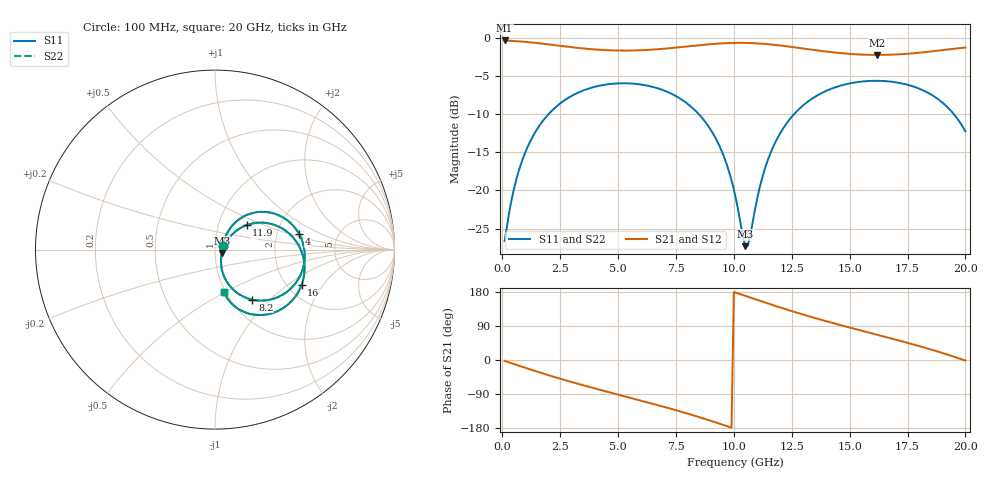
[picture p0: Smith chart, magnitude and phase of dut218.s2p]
! Touchstone file exported from HFSS 2026.1.0
!  File:  C:/ffzhzh/LocalFiles/Ansys_Project_Files/temp_train_TSV_RDL_218_1783062772_17544.aedt
!  Generated:  03:30:32 PM Jul  3, 2026
!  Design:  TSV_RDL
!  Project:  temp_train_TSV_RDL_218_1783062772_17544
! Variables:
!  h_bsmrdl = 4.47um
!  h_ox = 20um
!  h_rdl = 5um
!  h_sub = 88.29um
!  h_tmrdl = 3.52um
!  h_tsv = 88.29um
!  h_via = 3um
!  l_bsmrdl = 843.39um
!  l_sub = 5945.29um
!  l_tmrdl = 725.34um
!  m_sub = 200um
!  pitch = 37.04um
!  r_tsv = 2.2um
!  s_tmrdl = 10um
!  w_bsmrdl = 10.26um
!  w_sub = 500um
!  w_tmrdl = 27.66um
!  x_tsv_center1 = 739.17um
!  x_tsv_center2 = 1592.82um
!  x_tsv_center3 = 2345.82um
!  x_tsv_center4 = 3199.47um
!  x_tsv_center5 = 3952.47um
!  x_tsv_center6 = 4806.12um
# GHz S MA R 50.000000
! Terminal data exported
! Port[1] = TM_RDL1_1_T1
! Port[2] = TM_RDL5_1_T1
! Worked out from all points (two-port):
!   200 points, 100 MHz to 20 GHz, reference 50 ohm
!   highest |S21| = -0.38 dB at 100 MHz (marker M1); lowest = -2.3 dB at 16.2 GHz (marker M2)
!   |S21| within 3 dB of the highest: start of sweep to end of sweep
!   lowest |S11| = -27.3 dB at 10.5 GHz (marker M3), VSWR 1.09, Z = 54 - j1.96 ohm
!   |S11| at or under -10 dB: start of sweep to 2.003 GHz; 8.48 GHz to 12.61 GHz (4.129 GHz wide, 39.2 % of centre); 19.49 GHz to end of sweep
!   |S22| runs from -27.4 to -5.7 dB; largest |S21 - S12| = 1.6e-14
!   S11 on the Smith chart (normalised r, x): 100 MHz: 1.09, +0.04; 4 GHz: 2.66, +0.60; 8.2 GHz: 1.25, -0.79; 11.9 GHz: 1.36, +0.39; 16 GHz: 2.38, -1.28; 20 GHz: 0.98, -0.50
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0.1  0.04676 22.7  0.9574 -2.2  0.9574 -2.2  0.04676 22.7
! Gamma 0 0 0 0
! Port Impedance 50 0 50 0
0.6  0.1171 53.7  0.9472 -12.6  0.9472 -12.6  0.1171 53.7
1.3  0.223 50.9  0.9278 -26.7  0.9278 -26.7  0.223 50.9
2.2  0.3391 38.3  0.8947 -43.9  0.8947 -43.9  0.3391 38.3
3.5  0.4509 18.2  0.8487 -66.8  0.8487 -66.8  0.4509 18.2
4  0.4765 10.6  0.836 -75.1  0.836 -75.1  0.4765 10.6
5.4  0.5018 -10.4  0.8221 -97.6  0.8221 -97.6  0.5018 -10.4
6.8  0.461 -31.5  0.8407 -120.4  0.8407 -120.4  0.461 -31.5
8.2  0.3481 -53.3  0.8816 -145.1  0.8816 -145.1  0.348 -53.3
9.3  0.2069 -68.8  0.9126 -166.3  0.9126 -166.3  0.2069 -68.8
10.1  0.08645 -66.8  0.9231 177.4  0.9231 177.4  0.08626 -67.0
10.5  0.04316 -24.8  0.9227 169.1  0.9227 169.1  0.04277 -24.9
10.7  0.04964 13.3  0.9209 165.0  0.9209 165.0  0.04929 13.6
11.3  0.1324 41.5  0.9098 152.7  0.9098 152.7  0.1323 41.8
11.9  0.2222 37.8  0.8912 140.6  0.8912 140.6  0.2221 37.9
13.4  0.4003 16.1  0.8315 112.6  0.8315 112.6  0.4003 16.2
14.7  0.4889 -3.4  0.7889 90.5  0.7889 90.5  0.4888 -3.3
16  0.5211 -22.2  0.7703 69.6  0.7703 69.6  0.521 -22.1
16.2  0.5213 -25.1  0.7699 66.5  0.7699 66.5  0.5213 -25.0
16.7  0.5164 -32.2  0.7719 58.4  0.7719 58.4  0.5163 -32.1
18.4  0.434 -57.1  0.8075 29.7  0.8075 29.7  0.434 -57.0
20  0.2432 -78.1  0.8603 -1.4  0.8603 -1.4  0.2434 -77.9
